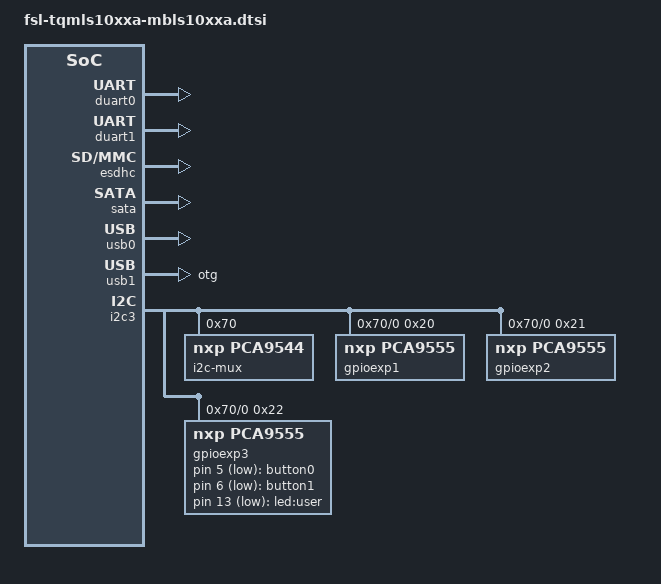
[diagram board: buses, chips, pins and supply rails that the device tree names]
// SPDX-License-Identifier: (GPL-2.0+ OR MIT)
/*
 * Device Tree Include file for MBLS10xxA from TQ
 *
 * Copyright 2018 TQ-Systems GmbH
 */

#include <dt-bindings/input/input.h>
#include <dt-bindings/gpio/gpio.h>

/ {
	gpio-keys-polled {
		compatible = "gpio-keys-polled";
		gpio-keys,name = "gpio-keys";
		poll-interval = <100>;
		autorepeat;

		button0 {
			label = "button0";
			gpios = <&gpioexp3 5 GPIO_ACTIVE_LOW>;
			linux,code = <KEY_F1>;
		};

		button1 {
			label = "button1";
			gpios = <&gpioexp3 6 GPIO_ACTIVE_LOW>;
			linux,code = <KEY_F2>;
		};
	};

	leds {
		compatible = "gpio-leds";

		user {
			gpios = <&gpioexp3 13 GPIO_ACTIVE_LOW>;
			label = "led:user";
			linux,default-trigger = "heartbeat";
		};
	};

};

&duart0 {
	status = "okay";
};

&duart1 {
	status = "okay";
};

&esdhc {
	status = "okay";
};

&sata {
	status = "okay";
};

&usb0 {
	status = "okay";
};

&usb1 {
	status = "okay";
	dr_mode = "otg";
};

&i2c3 {
	status = "okay";

	i2c-mux@70 {
		compatible = "nxp,pca9544";
		reg = <0x70>;
		#address-cells = <1>;
		#size-cells = <0>;

		i2c@0 {
			#address-cells = <1>;
			#size-cells = <0>;
			reg = <0x0>;

			gpioexp1: pca9555@20 {
				compatible = "nxp,pca9555";
				reg = <0x20>;
				gpio-controller;
				#gpio-cells = <2>;
			};

			gpioexp2: pca9555@21 {
				compatible = "nxp,pca9555";
				reg = <0x21>;
				gpio-controller;
				#gpio-cells = <2>;
			};

			gpioexp3: pca9555@22 {
				compatible = "nxp,pca9555";
				reg = <0x22>;
				gpio-controller;
				#gpio-cells = <2>;
			};
		};

		i2c@1 {
			#address-cells = <1>;
			#size-cells = <0>;
			reg = <0x1>;
		};

		i2c@2 {
			#address-cells = <1>;
			#size-cells = <0>;
			reg = <0x2>;
		};

		i2c@3 {
			#address-cells = <1>;
			#size-cells = <0>;
			reg = <0x3>;
		};
	};
};
